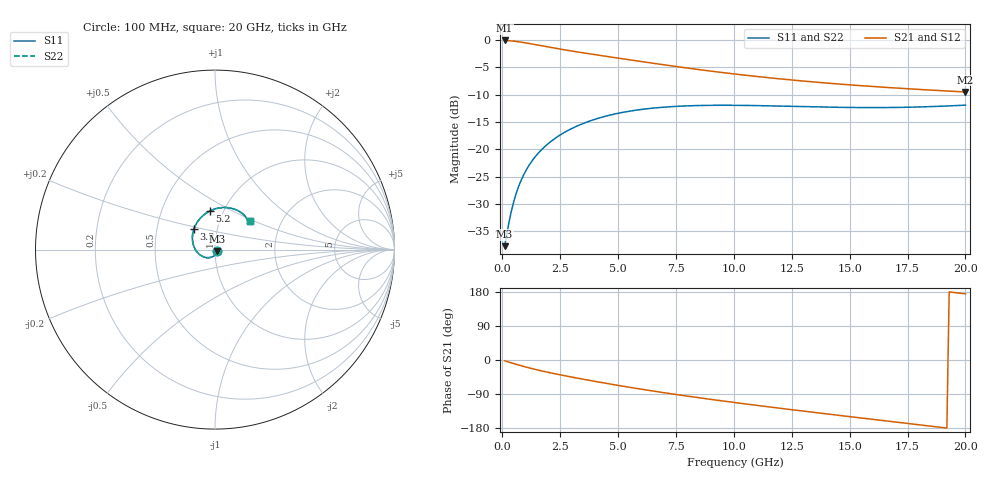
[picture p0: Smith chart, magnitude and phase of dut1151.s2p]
! Touchstone file exported from HFSS 2024.1.0
!  File:  C:/UserFiles/LocalFiles/RDL_TSV_Batchsim/temp_RDL_TSV_1151_1780117595.aedt
!  Generated:  01:25:23 PM May 30, 2026
!  Design:  RDL_TSV
!  Project:  temp_RDL_TSV_1151_1780117595
!  Setup:  Setup1
!  Solution:  Sweep
! Variables:
!  dtsv = 14.03um
!  hbump = 3um
!  htsv = 94.55um
!  ldown = 548.47um
!  lrdl = 165.23um
!  p = 40
!  p1 = 57.47um
!  rhole = 10um
!  subl = 2306.33um
!  t = 450um
!  tdown = 2.73um
!  trdl = 3.43um
!  viad = 10um
!  wdown = 25.91um
!  wrdl = 26.98um
!  xbump = 18um
# GHz S MA R 50.000000
! Terminal data exported
! Port[1] = TM1_1_T1
! Port[2] = TM1_4_T1
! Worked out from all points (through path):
!   200 points, 100 MHz to 20 GHz, reference 50 ohm
!   highest |S21| = -0.11 dB at 100 MHz (marker M1); lowest = -9.5 dB at 20 GHz (marker M2)
!   group delay of S21, straight-line fit = 24 ps
!   lowest |S11| = -37.7 dB at 100 MHz (marker M3), VSWR 1.03, Z = 51.1 - j0.718 ohm
!   |S11| at or under -10 dB: start of sweep to end of sweep
!   |S22| runs from -37.7 to -12.0 dB; largest |S21 - S12| = 5.7e-14
!   S11 on the Smith chart (normalised r, x): 100 MHz: 1.02, -0.01; 3.3 GHz: 0.77, +0.19; 5.2 GHz: 0.86, +0.39; 20 GHz: 1.40, +0.47
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0.1  0.01301 -32.7  0.9877 -2.0  0.9877 -2.0  0.01301 -32.7
! Gamma 0 0 0 0
! Port Impedance 50 0 50 0
0.3  0.02204 -73.4  0.9822 -5.9  0.9822 -5.9  0.02204 -73.4
0.4  0.02768 -86.1  0.978 -7.7  0.978 -7.7  0.02768 -86.1
0.5  0.03353 -96.5  0.973 -9.6  0.973 -9.6  0.03353 -96.5
0.6  0.03945 -105.5  0.9673 -11.4  0.9673 -11.4  0.03945 -105.5
0.8  0.05121 -120.9  0.9541 -14.9  0.9541 -14.9  0.0512 -120.9
1.1  0.06821 -140.2  0.9313 -19.9  0.9313 -19.9  0.0682 -140.1
1.5  0.08936 -161.6  0.8986 -26.0  0.8986 -26.0  0.08934 -161.6
2  0.1134 176.3  0.8591 -32.8  0.8591 -32.8  0.1134 176.3
2.6  0.1392 154.8  0.8163 -40.4  0.8163 -40.4  0.1391 154.9
3.3  0.1655 134.8  0.7723 -48.6  0.7723 -48.6  0.1654 134.9
3.5  0.1723 129.9  0.7607 -50.8  0.7607 -50.8  0.1722 129.9
4.3  0.1963 112.7  0.7167 -59.6  0.7167 -59.6  0.1961 112.7
5.2  0.2174 97.3  0.6711 -69.0  0.6711 -69.0  0.2171 97.3
6.8  0.2409 76.9  0.5989 -84.6  0.5989 -84.6  0.2405 76.9
8.4  0.2509 62.7  0.5381 -98.8  0.5381 -98.8  0.2504 62.7
10.1  0.2522 52.2  0.4856 -112.8  0.4856 -112.8  0.2517 52.2
11.7  0.249 45.7  0.4463 -125.1  0.4463 -125.1  0.2485 45.7
13.4  0.2443 41.4  0.413 -137.8  0.413 -137.8  0.2437 41.5
15  0.241 39.4  0.388 -149.4  0.388 -149.4  0.2404 39.4
16.7  0.2408 38.6  0.3663 -161.7  0.3663 -161.7  0.2402 38.7
20  0.253 38.7  0.334 174.6  0.334 174.6  0.2525 38.8
